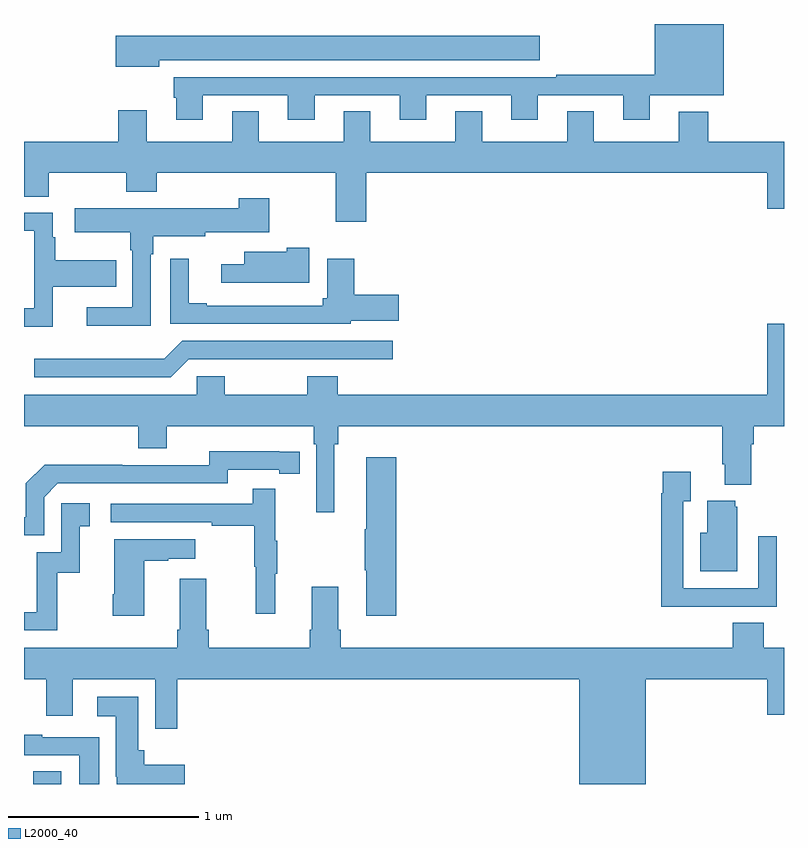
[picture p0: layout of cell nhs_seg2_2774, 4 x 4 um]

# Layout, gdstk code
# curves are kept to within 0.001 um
import gdstk
lib = gdstk.Library(unit=1e-6, precision=1e-09)
def R(c, l, rs):  # rectangles x0, y0, x1, y1
    for r in rs: c.add(gdstk.rectangle(r[:2], r[2:], *l))
def P(c, l, *ps):  # polygons
    for p in ps: c.add(gdstk.Polygon(p, *l))
L2000_40 = (2000, 40)

nhs_seg2_2774 = lib.new_cell('nhs_seg2_2774')
R(nhs_seg2_2774, L2000_40, [(257.048,597.8,257.197,597.866)])
P(nhs_seg2_2774, L2000_40, [(257.941,601.425),(258.389,601.425),(258.389,601.296),(258.529,601.296),(258.529,601.425),(258.977,601.425),(258.977,601.296),(259.117,601.296),(259.117,601.425),(259.565,601.425),(259.565,601.296),(259.705,601.296),(259.705,601.425),(260.153,601.425),(260.153,601.296),(260.293,601.296),(260.293,601.424),(260.683,601.424),(260.683,601.8),(260.321,601.8),(260.321,601.534),(259.801,601.534),(259.801,601.521),(257.789,601.521),(257.789,601.413),(257.801,601.413),(257.801,601.296),(257.941,601.296)],
  [(257.713,601.61),(259.714,601.61),(259.714,601.738),(257.484,601.738),(257.484,601.574),(257.713,601.574)],
  [(258.8,601.016),(260.912,601.016),(260.912,600.828),(261,600.828),(261,601.18),(260.6,601.18),(260.6,601.339),(260.447,601.339),(260.447,601.18),(259.999,601.18),(259.999,601.34),(259.859,601.34),(259.859,601.18),(259.411,601.18),(259.411,601.34),(259.271,601.34),(259.271,601.18),(258.823,601.18),(258.823,601.34),(258.683,601.34),(258.683,601.18),(258.235,601.18),(258.235,601.34),(258.095,601.34),(258.095,601.18),(257.647,601.18),(257.647,601.345),(257.495,601.345),(257.495,601.18),(257,601.18),(257,600.892),(257.13,600.892),(257.13,601.016),(257.539,601.016),(257.539,600.917),(257.699,600.917),(257.699,601.016),(258.64,601.016),(258.64,600.759),(258.8,600.759)],
  [(257.667,600.587),(257.68,600.587),(257.68,600.683),(257.955,600.683),(257.955,600.704),(258.291,600.704),(258.291,600.883),(258.131,600.883),(258.131,600.829),(257.267,600.829),(257.267,600.704),(257.559,600.704),(257.559,600.608),(257.571,600.608),(257.571,600.309),(257.331,600.309),(257.331,600.212),(257.667,600.212)],
  [(257.152,600.416),(257.486,600.416),(257.486,600.556),(257.164,600.556),(257.164,600.678),(257.151,600.678),(257.151,600.807),(257,600.807),(257,600.711),(257.055,600.711),(257.055,600.303),(257,600.303),(257,600.206),(257.152,600.206)],
  [(258.502,600.622),(258.384,600.622),(258.384,600.601),(258.158,600.601),(258.158,600.535),(258.039,600.535),(258.039,600.437),(258.502,600.437)],
  [(258.72,600.239),(258.973,600.239),(258.973,600.374),(258.737,600.374),(258.737,600.565),(258.596,600.565),(258.596,600.357),(258.572,600.357),(258.572,600.318),(257.962,600.318),(257.962,600.331),(257.866,600.331),(257.866,600.565),(257.769,600.565),(257.769,600.222),(258.72,600.222)],
  [(258.634,599.588),(258.653,599.588),(258.653,599.684),(260.675,599.684),(260.675,599.482),(260.687,599.482),(260.687,599.375),(260.827,599.375),(260.827,599.588),(260.84,599.588),(260.84,599.684),(261,599.684),(261,600.223),(260.912,600.223),(260.912,599.848),(258.65,599.848),(258.65,599.947),(258.49,599.947),(258.49,599.848),(258.057,599.848),(258.057,599.946),(257.91,599.946),(257.91,599.848),(257,599.848),(257,599.684),(257.6,599.684),(257.6,599.567),(257.752,599.567),(257.752,599.684),(258.524,599.684),(258.524,599.588),(258.537,599.588),(258.537,599.229),(258.634,599.229)],
  [(257.868,600.036),(258.145,600.036),(258.145,600.035),(258.401,600.035),(258.401,600.036),(258.94,600.036),(258.94,600.132),(257.832,600.132),(257.737,600.037),(257.055,600.037),(257.055,599.94),(257.772,599.94)],
  [(257.106,599.31),(257.178,599.382),(258.072,599.382),(258.072,599.454),(258.344,599.454),(258.344,599.434),(258.452,599.434),(258.452,599.55),(257.976,599.551),(257.976,599.478),(257.516,599.478),(257.516,599.48),(257.108,599.48),(257.01,599.382),(257.01,599.205),(257,599.205),(257,599.109),(257.106,599.109)],
  [(258.959,599.521),(258.8,599.521),(258.8,599.141),(258.793,599.141),(258.793,598.924),(258.8,598.924),(258.8,598.686),(258.959,598.686)],
  [(260.645,598.734),(260.961,598.734),(260.961,599.104),(260.865,599.104),(260.865,598.83),(260.469,598.83),(260.469,599.287),(260.509,599.287),(260.509,599.443),(260.361,599.443),(260.361,599.33),(260.353,599.33),(260.353,598.733),(260.645,598.733)],
  [(258.323,598.907),(258.334,598.907),(258.334,599.081),(258.323,599.081),(258.323,599.353),(258.205,599.353),(258.205,599.274),(257.457,599.274),(257.457,599.178),(257.989,599.178),(257.989,599.158),(258.213,599.158),(258.213,598.944),(258.22,598.944),(258.22,598.695),(258.323,598.695)],
  [(260.755,599.259),(260.744,599.259),(260.744,599.29),(260.597,599.29),(260.597,599.122),(260.558,599.122),(260.558,598.919),(260.755,598.919)],
  [(257.176,598.911),(257.294,598.911),(257.294,599.157),(257.347,599.157),(257.347,599.278),(257.196,599.278),(257.196,599.019),(257.067,599.019),(257.067,598.704),(257,598.704),(257,598.608),(257.176,598.608)],
  [(257.632,598.975),(257.759,598.975),(257.759,598.985),(257.902,598.985),(257.902,599.089),(257.474,599.089),(257.474,598.798),(257.467,598.798),(257.467,598.686),(257.632,598.686)],
  [(258.668,598.612),(258.655,598.612),(258.655,598.837),(258.515,598.837),(258.515,598.612),(258.503,598.612),(258.503,598.516),(257.972,598.516),(257.972,598.612),(257.959,598.612),(257.959,598.879),(257.819,598.879),(257.819,598.612),(257.807,598.612),(257.807,598.516),(257,598.516),(257,598.352),(257.117,598.352),(257.117,598.158),(257.257,598.158),(257.257,598.352),(257.691,598.352),(257.691,598.092),(257.807,598.092),(257.807,598.352),(259.922,598.352),(259.922,597.8),(260.272,597.8),(260.272,598.352),(260.912,598.352),(260.912,598.164),(261,598.164),(261,598.516),(260.894,598.516),(260.894,598.649),(260.729,598.649),(260.729,598.516),(258.668,598.516)],
  [(257.845,597.901),(257.633,597.901),(257.633,597.978),(257.602,597.978),(257.602,598.258),(257.385,598.258),(257.385,598.157),(257.483,598.157),(257.483,597.838),(257.487,597.838),(257.487,597.8),(257.845,597.8)],
  [(257.395,598.047),(257.095,598.047),(257.095,598.06),(257,598.06),(257,597.951),(257.291,597.951),(257.291,597.8),(257.395,597.8)])

lib.write_gds('nhs_seg2_2774.gds')
